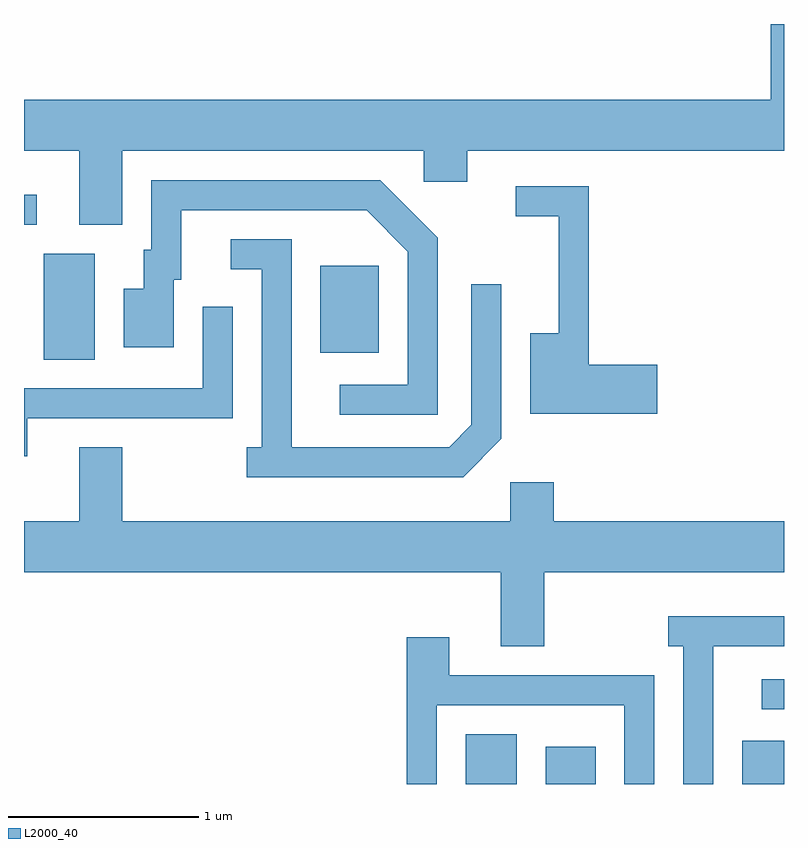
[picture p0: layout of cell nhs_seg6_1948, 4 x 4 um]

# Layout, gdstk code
import gdstk
lib = gdstk.Library(unit=1e-6, precision=1e-09)
def R(c, l, rs):  # rectangles x0, y0, x1, y1
    for r in rs: c.add(gdstk.rectangle(r[:2], r[2:], *l))
def P(c, l, *ps):  # polygons
    for p in ps: c.add(gdstk.Polygon(p, *l))
L2000_40 = (2000, 40)

nhs_seg6_1948 = lib.new_cell('nhs_seg6_1948')
R(nhs_seg6_1948, L2000_40, [(245.936,1642.162,246.204,1642.424), (246.356,1642.162,246.619,1642.359), (247.391,1642.162,247.611,1642.389), (247.493,1642.556,247.611,1642.714), (243.716,1644.396,243.984,1644.954), (245.171,1644.431,245.479,1644.889), (243.611,1645.106,243.678,1645.264)])
P(nhs_seg6_1948, L2000_40, [(244.129,1645.496),(245.716,1645.496),(245.716,1645.331),(245.944,1645.331),(245.944,1645.496),(247.611,1645.496),(247.611,1646.162),(247.541,1646.162),(247.541,1645.764),(243.611,1645.764),(243.611,1645.496),(243.901,1645.496),(243.901,1645.106),(244.129,1645.106)],
  [(245.789,1645.037),(245.487,1645.339),(244.281,1645.339),(244.281,1644.974),(244.241,1644.974),(244.241,1644.769),(244.136,1644.769),(244.136,1644.461),(244.399,1644.461),(244.399,1644.816),(244.439,1644.816),(244.439,1645.181),(245.414,1645.181),(245.631,1644.964),(245.631,1644.264),(245.273,1644.264),(245.273,1644.106),(245.789,1644.106)],
  [(246.944,1644.369),(246.584,1644.369),(246.584,1645.309),(246.198,1645.309),(246.198,1645.151),(246.426,1645.151),(246.426,1644.534),(246.276,1644.534),(246.276,1644.111),(246.944,1644.111)],
  [(246.124,1643.979),(246.124,1644.793),(245.966,1644.793),(245.966,1644.052),(245.849,1643.934),(245.019,1643.934),(245.019,1645.029),(244.698,1645.029),(244.698,1644.871),(244.861,1644.871),(244.861,1643.934),(244.783,1643.934),(244.783,1643.776),(245.922,1643.776)],
  [(243.629,1644.086),(244.709,1644.086),(244.709,1644.673),(244.551,1644.673),(244.551,1644.244),(243.611,1644.244),(243.611,1643.886),(243.629,1643.886)],
  [(246.349,1643.276),(247.611,1643.276),(247.611,1643.544),(246.399,1643.544),(246.399,1643.749),(246.171,1643.749),(246.171,1643.544),(244.129,1643.544),(244.129,1643.934),(243.901,1643.934),(243.901,1643.544),(243.611,1643.544),(243.611,1643.276),(246.121,1643.276),(246.121,1642.886),(246.349,1642.886)],
  [(247.239,1642.886),(247.611,1642.886),(247.611,1643.044),(247.003,1643.044),(247.003,1642.886),(247.081,1642.886),(247.081,1642.162),(247.239,1642.162)],
  [(245.784,1642.576),(246.771,1642.576),(246.771,1642.162),(246.929,1642.162),(246.929,1642.734),(245.849,1642.734),(245.849,1642.934),(245.626,1642.934),(245.626,1642.162),(245.784,1642.162)])

lib.write_gds('nhs_seg6_1948.gds')
